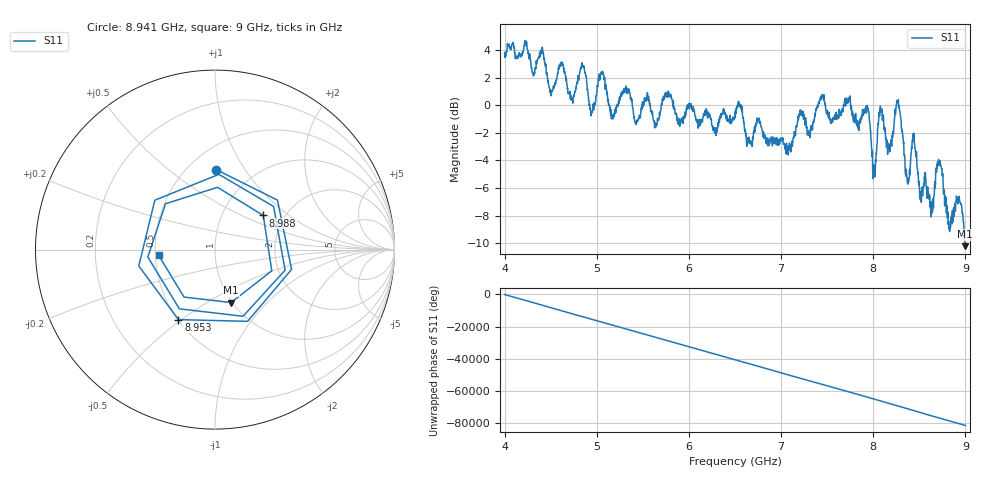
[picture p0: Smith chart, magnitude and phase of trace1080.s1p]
! Created with skrf 1.8.0 (http://scikit-rf.org).
# Hz S RI R 50.0
!freq ReS11 ImS11
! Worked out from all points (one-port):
!   1601 points, 4 GHz to 9 GHz, reference 50 ohm
!   lowest |S11| = -10.2 dB at 8.994 GHz (marker M1), VSWR 1.89, Z = 49.4 - j32.2 ohm
!   |S11| at or under -10 dB: 8.99317 GHz to end of sweep
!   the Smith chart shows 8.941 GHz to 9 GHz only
!   S11 on the Smith chart (normalised r, x): 8.941 GHz: 0.68, +0.75; 8.953 GHz: 0.50, -0.49; 8.988 GHz: 1.56, +0.67; 9 GHz: 0.52, -0.04
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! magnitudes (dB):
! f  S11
! 4 GHz  3.8
! 4.406 GHz  4.1
! 4.506 GHz  0.8
! 4.625 GHz  2.9
! 4.85 GHz  2.8
! 4.944 GHz  -0.5
! 5.05 GHz  2.3
! 5.25 GHz  0.4
! 5.875 GHz  -0.9
! 6.5 GHz  -0.5
! 7.125 GHz  -2.8
! 7.75 GHz  0.3
! 7.938 GHz  -0.1
! 8.009 GHz  -5.1
! 8.072 GHz  -0.3
! 8.178 GHz  -2.9
! 8.269 GHz  0.2
! 8.375 GHz  -5.7
! 8.438 GHz  -2.6
! 8.516 GHz  -6.8
! 8.638 GHz  -7.8
! 8.716 GHz  -4.4
! 8.825 GHz  -8.8
! 8.941 GHz  -7.0
! 8.953 GHz  -7.1
! 8.988 GHz  -9.6
! 8.994 GHz  -10.2
! 9 GHz  -10.0
